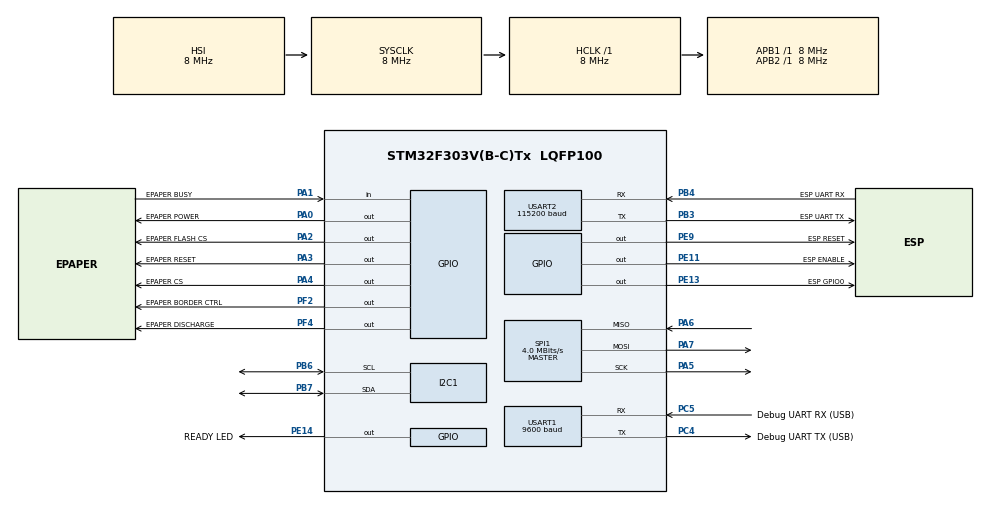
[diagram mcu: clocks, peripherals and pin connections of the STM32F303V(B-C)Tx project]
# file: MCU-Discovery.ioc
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Dma.Request0=USART1_RX
Dma.Request1=USART2_RX
Dma.USART1_RX.0.Direction=DMA_PERIPH_TO_MEMORY
Dma.USART1_RX.0.Instance=DMA1_Channel5
Dma.USART1_RX.0.MemDataAlignment=DMA_MDATAALIGN_BYTE
Dma.USART1_RX.0.MemInc=DMA_MINC_ENABLE
Dma.USART1_RX.0.Mode=DMA_CIRCULAR
Dma.USART1_RX.0.PeriphDataAlignment=DMA_PDATAALIGN_BYTE
Dma.USART1_RX.0.PeriphInc=DMA_PINC_DISABLE
Dma.USART1_RX.0.Priority=DMA_PRIORITY_LOW
Dma.USART2_RX.1.Direction=DMA_PERIPH_TO_MEMORY
Dma.USART2_RX.1.Instance=DMA1_Channel6
Dma.USART2_RX.1.MemDataAlignment=DMA_MDATAALIGN_BYTE
Dma.USART2_RX.1.MemInc=DMA_MINC_ENABLE
Dma.USART2_RX.1.Mode=DMA_CIRCULAR
Dma.USART2_RX.1.PeriphDataAlignment=DMA_PDATAALIGN_BYTE
Dma.USART2_RX.1.PeriphInc=DMA_PINC_DISABLE
Dma.USART2_RX.1.Priority=DMA_PRIORITY_LOW
I2C1.Timing=0x2000090E
Mcu.Family=STM32F3
Mcu.Name=STM32F303V(B-C)Tx
Mcu.Package=LQFP100
Mcu.UserConstants=IS_DISCOVERY,1
NVIC.DMA1_Channel5_IRQn=true\:0\:0\:false\:false\:true
NVIC.DMA1_Channel6_IRQn=true\:0\:0\:false\:false\:true
NVIC.PriorityGroup=NVIC_PRIORITYGROUP_4
NVIC.RTC_Alarm_IRQn=true\:15\:0\:true\:false\:true
PA0.GPIO_Label=EPAPER POWER
PA0.Signal=GPIO_Output
PA1.GPIO_Label=EPAPER BUSY
PA1.Signal=GPIO_Input
PA2.GPIO_Label=EPAPER FLASH CS
PA2.Signal=GPIO_Output
PA3.GPIO_Label=EPAPER RESET
PA3.Signal=GPIO_Output
PA4.GPIO_Label=EPAPER CS
PA4.Signal=GPIO_Output
PA5.Mode=Full_Duplex_Master
PA5.Signal=SPI1_SCK
PA6.Mode=Full_Duplex_Master
PA6.Signal=SPI1_MISO
PA7.Mode=Full_Duplex_Master
PA7.Signal=SPI1_MOSI
PB3.GPIO_Label=ESP UART TX
PB3.Mode=Asynchronous
PB3.Signal=USART2_TX
PB4.GPIO_Label=ESP UART RX
PB4.Mode=Asynchronous
PB4.Signal=USART2_RX
PB6.Mode=I2C
PB6.Signal=I2C1_SCL
PB7.Mode=I2C
PB7.Signal=I2C1_SDA
PC4.GPIO_Label=Debug UART TX (USB)
PC4.Mode=Asynchronous
PC4.Signal=USART1_TX
PC5.GPIO_Label=Debug UART RX (USB)
PC5.Mode=Asynchronous
PC5.Signal=USART1_RX
PE11.GPIO_Label=ESP ENABLE
PE11.Signal=GPIO_Output
PE13.GPIO_Label=ESP GPIO0
PE13.GPIO_ModeDefaultOutputPP=GPIO_MODE_OUTPUT_PP
PE13.Signal=GPIO_Output
PE14.GPIO_Label=READY LED
PE14.Signal=GPIO_Output
PE9.GPIO_Label=ESP RESET
PE9.Signal=GPIO_Output
PF2.GPIO_Label=EPAPER BORDER CTRL
PF2.Signal=GPIO_Output
PF4.GPIO_Label=EPAPER DISCHARGE
PF4.Signal=GPIO_Output
ProjectManager.HeapSize=0x200
ProjectManager.StackSize=0x400
ProjectManager.TargetToolchain=SW4STM32
RCC.AHBFreq_Value=8000000
RCC.APB1Freq_Value=8000000
RCC.APB1TimFreq_Value=8000000
RCC.APB2Freq_Value=8000000
RCC.APB2TimFreq_Value=8000000
RCC.CortexFreq_Value=8000000
RCC.HCLKFreq_Value=8000000
RCC.HSE_VALUE=8000000
RCC.HSICalibrationValue=16
RCC.HSI_VALUE=8000000
RCC.LSE_VALUE=32768
RCC.PLLMUL=RCC_PLL_MUL4
RCC.SYSCLKFreq_VALUE=8000000
RCC.USBFreq_Value=16000000
RTC.Alarm-Alarm\ A=RTC_ALARM_A
RTC.AlarmMaskDateWeekDay-Alarm\ A=RTC_ALARMMASK_DATEWEEKDAY
RTC.AlarmMaskDateWeekDay_B-Alarm\ B=RTC_ALARMMASK_DATEWEEKDAY
RTC.AlarmMaskHours-Alarm\ A=RTC_ALARMMASK_HOURS
RTC.AlarmMaskMinutes-Alarm\ A=RTC_ALARMMASK_MINUTES
RTC.Alarm_B-Alarm\ B=RTC_ALARM_B
RTC.AsynchPrediv=63
RTC.Hours_B-Alarm\ B=4
RTC.SynchPrediv=623
SPI1.BaudRatePrescaler=SPI_BAUDRATEPRESCALER_2
SPI1.CLKPhase=SPI_PHASE_1EDGE
SPI1.CalculateBaudRate=4.0 MBits/s
SPI1.DataSize=SPI_DATASIZE_8BIT
SPI1.Direction=SPI_DIRECTION_2LINES
SPI1.Mode=SPI_MODE_MASTER
SPI1.VirtualType=VM_MASTER
TIM2.AutoReloadPreload=TIM_AUTORELOAD_PRELOAD_ENABLE
TIM2.Period=80
USART1.BaudRate=9600
USART1.VirtualMode-Asynchronous=VM_ASYNC
USART2.BaudRate=115200
USART2.DataInvertParam=UART_ADVFEATURE_DATAINV_DISABLE
USART2.SwapParam=UART_ADVFEATURE_SWAP_DISABLE
USART2.VirtualMode-Asynchronous=VM_ASYNC
VP_RTC_VS_RTC_Activate.Mode=RTC_Enabled
VP_RTC_VS_RTC_Alarm_A_Intern.Mode=Alarm A
VP_RTC_VS_RTC_Alarm_B_Intern.Mode=Alarm B
VP_RTC_VS_RTC_Calendar.Mode=RTC_Calendar
VP_TIM2_VS_ClockSourceINT.Mode=Internal
VP_TIM2_VS_OPM.Mode=OPM_bit
board=Prototyp-teo

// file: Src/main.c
/**
  ******************************************************************************
  * File Name          : main.c
  * Description        : Main program body
  ******************************************************************************
  *
  * COPYRIGHT(c) 2017 STMicroelectronics
  *
  * Redistribution and use in source and binary forms, with or without modification,
  * are permitted provided that the following conditions are met:
  *   1. Redistributions of source code must retain the above copyright notice,
  *      this list of conditions and the following disclaimer.
  *   2. Redistributions in binary form must reproduce the above copyright notice,
  *      this list of conditions and the following disclaimer in the documentation
  *      and/or other materials provided with the distribution.
  *   3. Neither the name of STMicroelectronics nor the names of its contributors
  *      may be used to endorse or promote products derived from this software
  *      without specific prior written permission.
  *
  * THIS SOFTWARE IS PROVIDED BY THE COPYRIGHT HOLDERS AND CONTRIBUTORS "AS IS"
  * AND ANY EXPRESS OR IMPLIED WARRANTIES, INCLUDING, BUT NOT LIMITED TO, THE
  * IMPLIED WARRANTIES OF MERCHANTABILITY AND FITNESS FOR A PARTICULAR PURPOSE ARE
  * DISCLAIMED. IN NO EVENT SHALL THE COPYRIGHT HOLDER OR CONTRIBUTORS BE LIABLE
  * FOR ANY DIRECT, INDIRECT, INCIDENTAL, SPECIAL, EXEMPLARY, OR CONSEQUENTIAL
  * DAMAGES (INCLUDING, BUT NOT LIMITED TO, PROCUREMENT OF SUBSTITUTE GOODS OR
  * SERVICES; LOSS OF USE, DATA, OR PROFITS; OR BUSINESS INTERRUPTION) HOWEVER
  * CAUSED AND ON ANY THEORY OF LIABILITY, WHETHER IN CONTRACT, STRICT LIABILITY,
  * OR TORT (INCLUDING NEGLIGENCE OR OTHERWISE) ARISING IN ANY WAY OUT OF THE USE
  * OF THIS SOFTWARE, EVEN IF ADVISED OF THE POSSIBILITY OF SUCH DAMAGE.
  *
  ******************************************************************************
  */
#include "main.h"
#include "stm32f3xx_hal.h"
#include "dma.h"
#include "i2c.h"
#include "rtc.h"
#include "spi.h"
#include "tim.h"
#include "usart.h"
#include "gpio.h"

/* USER CODE BEGIN Includes */
#include "epaper.h"
#include "utils.h"
/* USER CODE END Includes */

/* USER CODE BEGIN PV */
/* Private variables ---------------------------------------------------------*/

/* USER CODE END PV */

void SystemClock_Config(void);
void Error_Handler(void);

/* USER CODE BEGIN PFP */
/* Private function prototypes -----------------------------------------------*/

/* USER CODE END PFP */

int main(void)
{

  /* MCU Configuration----------------------------------------------------------*/

  /* Reset of all peripherals, Initializes the Flash interface and the Systick. */
  HAL_Init();

  /* Configure the system clock */
  SystemClock_Config();

  /* Initialize all configured peripherals */
  MX_GPIO_Init();
  MX_DMA_Init();
  MX_I2C1_Init();
  MX_USART1_UART_Init();
  MX_USART2_UART_Init();
  MX_SPI1_Init();
  MX_TIM2_Init();
  MX_RTC_Init();

  /* USER CODE BEGIN 2 */
#ifdef READY_LED_Pin
  HAL_GPIO_WritePin(READY_LED_GPIO_Port, READY_LED_Pin, GPIO_PIN_RESET);
#endif
  Display_Init();
  Epaper_Splash_Init();
  //Epaper_Demo();
  ESP_Init();
  Epaper_Splash_Shutdown();
#ifdef READY_LED_Pin
  HAL_GPIO_WritePin(READY_LED_GPIO_Port, READY_LED_Pin, GPIO_PIN_SET);
#endif
  /* USER CODE END 2 */

  /* Infinite loop */
  /* USER CODE BEGIN WHILE */
  while (1)
  {
	  uint8_t buf[ESP_BUF_SIZE];
	  int16_t len;
	  if ((len = ESP_TCP_ReadLine(buf)) > 0) {
#ifdef HUART_DEBUG
		  HAL_UART_Transmit(&HUART_DEBUG, buf, len, 1000);
		  HAL_UART_Transmit(&HUART_DEBUG, (uint8_t *)"\r\n", 2, 1000);
#endif

		  switch(buf[0]) {
		  case 'M':
			  Display_Strn(buf+1, len-1);
			  Epaper_MessageCard_Display(buf+1, len-1);
			  break;
		  case 'T':
			  setDateTime(buf+1, len-1);
			  break;
		  }
	  } else if (len == -1 && (len = ESP_ReadLine(buf)) != 0) {
#ifdef HUART_DEBUG
		  HAL_UART_Transmit(&HUART_DEBUG, buf, len, 1000);
		  HAL_UART_Transmit(&HUART_DEBUG, (uint8_t *)"\r\n", 2, 1000);
#endif
		  Display_Strn(buf, len);
	  } else {
		  ESP_SleepUntilMessage();
	  }
  /* USER CODE END WHILE */

  }

}

/** System Clock Configuration
*/
void SystemClock_Config(void)
{

  RCC_OscInitTypeDef RCC_OscInitStruct;
  RCC_ClkInitTypeDef RCC_ClkInitStruct;
  RCC_PeriphCLKInitTypeDef PeriphClkInit;

    /**Initializes the CPU, AHB and APB busses clocks
    */
  RCC_OscInitStruct.OscillatorType = RCC_OSCILLATORTYPE_HSI|RCC_OSCILLATORTYPE_LSI;
  RCC_OscInitStruct.HSIState = RCC_HSI_ON;
  RCC_OscInitStruct.HSICalibrationValue = 16;
  RCC_OscInitStruct.LSIState = RCC_LSI_ON;
  RCC_OscInitStruct.PLL.PLLState = RCC_PLL_NONE;
  if (HAL_RCC_OscConfig(&RCC_OscInitStruct) != HAL_OK)
  {
    Error_Handler();
  }

    /**Initializes the CPU, AHB and APB busses clocks
    */
  RCC_ClkInitStruct.ClockType = RCC_CLOCKTYPE_HCLK|RCC_CLOCKTYPE_SYSCLK
                              |RCC_CLOCKTYPE_PCLK1|RCC_CLOCKTYPE_PCLK2;
  RCC_ClkInitStruct.SYSCLKSource = RCC_SYSCLKSOURCE_HSI;
  RCC_ClkInitStruct.AHBCLKDivider = RCC_SYSCLK_DIV1;
  RCC_ClkInitStruct.APB1CLKDivider = RCC_HCLK_DIV1;
  RCC_ClkInitStruct.APB2CLKDivider = RCC_HCLK_DIV1;

  if (HAL_RCC_ClockConfig(&RCC_ClkInitStruct, FLASH_LATENCY_0) != HAL_OK)
  {
    Error_Handler();
  }

  PeriphClkInit.PeriphClockSelection = RCC_PERIPHCLK_USART1|RCC_PERIPHCLK_USART2
                              |RCC_PERIPHCLK_I2C1|RCC_PERIPHCLK_RTC;
  PeriphClkInit.Usart1ClockSelection = RCC_USART1CLKSOURCE_PCLK2;
  PeriphClkInit.Usart2ClockSelection = RCC_USART2CLKSOURCE_PCLK1;
  PeriphClkInit.I2c1ClockSelection = RCC_I2C1CLKSOURCE_HSI;
  PeriphClkInit.RTCClockSelection = RCC_RTCCLKSOURCE_LSI;
  if (HAL_RCCEx_PeriphCLKConfig(&PeriphClkInit) != HAL_OK)
  {
    Error_Handler();
  }

    /**Configure the Systick interrupt time
    */
  HAL_SYSTICK_Config(HAL_RCC_GetHCLKFreq()/1000);

    /**Configure the Systick
    */
  HAL_SYSTICK_CLKSourceConfig(SYSTICK_CLKSOURCE_HCLK);

  /* SysTick_IRQn interrupt configuration */
  HAL_NVIC_SetPriority(SysTick_IRQn, 0, 0);
}

void Error_Handler(void)
{
  while(1)
  {
  }
}

/************************ (C) COPYRIGHT STMicroelectronics *****END OF FILE****/
